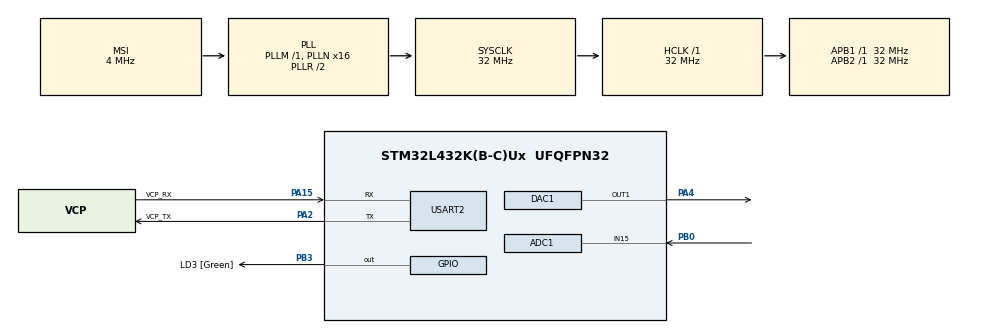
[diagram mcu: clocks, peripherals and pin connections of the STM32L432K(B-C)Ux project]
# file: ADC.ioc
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ADC1.Channel-4\#ChannelRegularConversion=ADC_CHANNEL_15
ADC1.ContinuousConvMode=DISABLE
ADC1.NbrOfConversionFlag=1
ADC1.OffsetNumber-4\#ChannelRegularConversion=ADC_OFFSET_NONE
ADC1.Overrun=ADC_OVR_DATA_OVERWRITTEN
ADC1.Rank-4\#ChannelRegularConversion=1
ADC1.SamplingTime-4\#ChannelRegularConversion=ADC_SAMPLETIME_2CYCLES_5
ADC1.master=1
Mcu.Family=STM32L4
Mcu.Name=STM32L432K(B-C)Ux
Mcu.Package=UFQFPN32
NVIC.PriorityGroup=NVIC_PRIORITYGROUP_4
PA0.GPIO_Label=MCO [High speed clock in]
PA0.Mode=HSE-External-Clock-Source-for-LittleOrca
PA0.Signal=RCC_CK_IN
PA13\ (JTMS-SWDIO).GPIO_Label=SWDIO
PA13\ (JTMS-SWDIO).Mode=Serial_Wire
PA13\ (JTMS-SWDIO).Signal=SYS_JTMS-SWDIO
PA14\ (JTCK-SWCLK).GPIO_Label=SWCLK
PA14\ (JTCK-SWCLK).Mode=Serial_Wire
PA14\ (JTCK-SWCLK).Signal=SYS_JTCK-SWCLK
PA15\ (JTDI).GPIO_Label=VCP_RX
PA15\ (JTDI).Mode=Asynchronous
PA15\ (JTDI).Signal=USART2_RX
PA2.GPIO_Label=VCP_TX
PA2.Mode=Asynchronous
PA2.Signal=USART2_TX
PA4.Signal=COMP_DAC11_group
PB0.Signal=ADCx_IN15
PB3\ (JTDO-TRACESWO).GPIO_Label=LD3 [Green]
PB3\ (JTDO-TRACESWO).Signal=GPIO_Output
PC14-OSC32_IN\ (PC14).Mode=LSE-External-Oscillator
PC14-OSC32_IN\ (PC14).Signal=RCC_OSC32_IN
PC15-OSC32_OUT\ (PC15).Mode=LSE-External-Oscillator
PC15-OSC32_OUT\ (PC15).Signal=RCC_OSC32_OUT
ProjectManager.HeapSize=0x200
ProjectManager.StackSize=0x400
ProjectManager.TargetToolchain=STM32CubeIDE
RCC.ADCFreq_Value=32000000
RCC.AHBFreq_Value=32000000
RCC.APB1Freq_Value=32000000
RCC.APB1TimFreq_Value=32000000
RCC.APB2Freq_Value=32000000
RCC.APB2TimFreq_Value=32000000
RCC.CortexFreq_Value=32000000
RCC.HCLKFreq_Value=32000000
RCC.HSE_VALUE=8000000
RCC.HSI16_VALUE=16000000
RCC.HSI48_VALUE=48000000
RCC.HSI_VALUE=16000000
RCC.MSI_VALUE=4000000
RCC.PLLMUL=RCC_PLLMUL_4
RCC.PLLN=16
RCC.PLLSAI1N=16
RCC.SYSCLKFreq_VALUE=32000000
RCC.SYSCLKSource=RCC_SYSCLKSOURCE_PLLCLK
RCC.USBFreq_Value=32000000
RCC.VCOOutputFreq_Value=64000000
SH.ADCx_IN15.0=ADC1_IN15,IN15-Single-Ended
SH.COMP_DAC11_group.0=DAC1_OUT1,DAC_OUT1
USART2.VirtualMode-Asynchronous=VM_ASYNC
board=NUCLEO-L432KC

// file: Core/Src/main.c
/* USER CODE BEGIN Header */
/**
  ******************************************************************************
  * @file           : main.c
  * @brief          : Main program body
  ******************************************************************************
  * @attention
  *
  * <h2><center>&copy; Copyright (c) 2020 STMicroelectronics.
  * All rights reserved.</center></h2>
  *
  * This software component is licensed by ST under BSD 3-Clause license,
  * the "License"; You may not use this file except in compliance with the
  * License. You may obtain a copy of the License at:
  *                        opensource.org/licenses/BSD-3-Clause
  *
  ******************************************************************************
  */
/* USER CODE END Header */
#include "main.h"

/* USER CODE BEGIN Includes */

#include <stdio.h>
#include <sys/_stdint.h>
#include <adc_dac.h>

/* USER CODE END Includes */

ADC_HandleTypeDef hadc1;

DAC_HandleTypeDef hdac1;

UART_HandleTypeDef huart2;

void SystemClock_Config(void);
static void MX_GPIO_Init(void);
static void MX_USART2_UART_Init(void);
static void MX_DAC1_Init(void);
static void MX_ADC1_Init(void);

/* USER CODE BEGIN 0 */

// route printf to UART
int _write(int file, char *ptr, int len)
{
	HAL_UART_Transmit(&huart2,  (uint8_t*) ptr, len, 10);
    return len;
}

void ramp(char *adc, char *dac)
{
	uint16_t value;
	printf("Soll;Ist;Time steps");
	for(uint16_t i = 0; i*10 < 4084;i++)
	{
		HAL_Delay(10);
		_dac_setval(i*10, dac);
		_adc_getval(&value, adc);
		printf("%d;%i;%i\n", i*10, value, i);
	}
}

/* USER CODE END 0 */

int main(void)
{

  /* MCU Configuration--------------------------------------------------------*/

  /* Reset of all peripherals, Initializes the Flash interface and the Systick. */
  HAL_Init();

  /* Configure the system clock */
  SystemClock_Config();

  /* Initialize all configured peripherals */
  MX_GPIO_Init();
  MX_USART2_UART_Init();
  MX_DAC1_Init();
  MX_ADC1_Init();
  /* USER CODE BEGIN 2 */
  _adc_configure("A3");
  _dac_configure("A4");

  printf("start ramp\n");
  ramp("A3", "A4");

  _adc_configure("A2");
  printf("read photo resistor\n");
  uint16_t light;

  /* USER CODE END 2 */

  /* Infinite loop */
  /* USER CODE BEGIN WHILE */
  while (1)
  {
	  HAL_Delay(100);
	  _adc_getval(&light, "A2");
	  printf("%d mV\n", (int)(light*((3.3/4084)*1000)));

    /* USER CODE END WHILE */

  }
}

void SystemClock_Config(void)
{
  RCC_OscInitTypeDef RCC_OscInitStruct = {0};
  RCC_ClkInitTypeDef RCC_ClkInitStruct = {0};
  RCC_PeriphCLKInitTypeDef PeriphClkInit = {0};

  /** Configure LSE Drive Capability
  */
  HAL_PWR_EnableBkUpAccess();
  __HAL_RCC_LSEDRIVE_CONFIG(RCC_LSEDRIVE_LOW);
  /** Initializes the RCC Oscillators according to the specified parameters
  * in the RCC_OscInitTypeDef structure.
  */
  RCC_OscInitStruct.OscillatorType = RCC_OSCILLATORTYPE_LSE|RCC_OSCILLATORTYPE_MSI;
  RCC_OscInitStruct.LSEState = RCC_LSE_ON;
  RCC_OscInitStruct.MSIState = RCC_MSI_ON;
  RCC_OscInitStruct.MSICalibrationValue = 0;
  RCC_OscInitStruct.MSIClockRange = RCC_MSIRANGE_6;
  RCC_OscInitStruct.PLL.PLLState = RCC_PLL_ON;
  RCC_OscInitStruct.PLL.PLLSource = RCC_PLLSOURCE_MSI;
  RCC_OscInitStruct.PLL.PLLM = 1;
  RCC_OscInitStruct.PLL.PLLN = 16;
  RCC_OscInitStruct.PLL.PLLP = RCC_PLLP_DIV7;
  RCC_OscInitStruct.PLL.PLLQ = RCC_PLLQ_DIV2;
  RCC_OscInitStruct.PLL.PLLR = RCC_PLLR_DIV2;
  if (HAL_RCC_OscConfig(&RCC_OscInitStruct) != HAL_OK)
  {
    Error_Handler();
  }
  /** Initializes the CPU, AHB and APB buses clocks
  */
  RCC_ClkInitStruct.ClockType = RCC_CLOCKTYPE_HCLK|RCC_CLOCKTYPE_SYSCLK
                              |RCC_CLOCKTYPE_PCLK1|RCC_CLOCKTYPE_PCLK2;
  RCC_ClkInitStruct.SYSCLKSource = RCC_SYSCLKSOURCE_PLLCLK;
  RCC_ClkInitStruct.AHBCLKDivider = RCC_SYSCLK_DIV1;
  RCC_ClkInitStruct.APB1CLKDivider = RCC_HCLK_DIV1;
  RCC_ClkInitStruct.APB2CLKDivider = RCC_HCLK_DIV1;

  if (HAL_RCC_ClockConfig(&RCC_ClkInitStruct, FLASH_LATENCY_1) != HAL_OK)
  {
    Error_Handler();
  }
  PeriphClkInit.PeriphClockSelection = RCC_PERIPHCLK_USART2|RCC_PERIPHCLK_ADC;
  PeriphClkInit.Usart2ClockSelection = RCC_USART2CLKSOURCE_PCLK1;
  PeriphClkInit.AdcClockSelection = RCC_ADCCLKSOURCE_PLLSAI1;
  PeriphClkInit.PLLSAI1.PLLSAI1Source = RCC_PLLSOURCE_MSI;
  PeriphClkInit.PLLSAI1.PLLSAI1M = 1;
  PeriphClkInit.PLLSAI1.PLLSAI1N = 16;
  PeriphClkInit.PLLSAI1.PLLSAI1P = RCC_PLLP_DIV7;
  PeriphClkInit.PLLSAI1.PLLSAI1Q = RCC_PLLQ_DIV2;
  PeriphClkInit.PLLSAI1.PLLSAI1R = RCC_PLLR_DIV2;
  PeriphClkInit.PLLSAI1.PLLSAI1ClockOut = RCC_PLLSAI1_ADC1CLK;
  if (HAL_RCCEx_PeriphCLKConfig(&PeriphClkInit) != HAL_OK)
  {
    Error_Handler();
  }
  /** Configure the main internal regulator output voltage
  */
  if (HAL_PWREx_ControlVoltageScaling(PWR_REGULATOR_VOLTAGE_SCALE1) != HAL_OK)
  {
    Error_Handler();
  }
  /** Enable MSI Auto calibration
  */
  HAL_RCCEx_EnableMSIPLLMode();
}

static void MX_ADC1_Init(void)
{

  ADC_ChannelConfTypeDef sConfig = {0};

  /** Common config
  */
  hadc1.Instance = ADC1;
  hadc1.Init.ClockPrescaler = ADC_CLOCK_ASYNC_DIV1;
  hadc1.Init.Resolution = ADC_RESOLUTION_12B;
  hadc1.Init.DataAlign = ADC_DATAALIGN_RIGHT;
  hadc1.Init.ScanConvMode = ADC_SCAN_DISABLE;
  hadc1.Init.EOCSelection = ADC_EOC_SINGLE_CONV;
  hadc1.Init.LowPowerAutoWait = DISABLE;
  hadc1.Init.ContinuousConvMode = DISABLE;
  hadc1.Init.NbrOfConversion = 1;
  hadc1.Init.DiscontinuousConvMode = DISABLE;
  hadc1.Init.ExternalTrigConv = ADC_SOFTWARE_START;
  hadc1.Init.ExternalTrigConvEdge = ADC_EXTERNALTRIGCONVEDGE_NONE;
  hadc1.Init.DMAContinuousRequests = DISABLE;
  hadc1.Init.Overrun = ADC_OVR_DATA_OVERWRITTEN;
  hadc1.Init.OversamplingMode = DISABLE;
  if (HAL_ADC_Init(&hadc1) != HAL_OK)
  {
    Error_Handler();
  }
  /** Configure Regular Channel
  */
  sConfig.Channel = ADC_CHANNEL_15;
  sConfig.Rank = ADC_REGULAR_RANK_1;
  sConfig.SamplingTime = ADC_SAMPLETIME_2CYCLES_5;
  sConfig.SingleDiff = ADC_SINGLE_ENDED;
  sConfig.OffsetNumber = ADC_OFFSET_NONE;
  sConfig.Offset = 0;
  if (HAL_ADC_ConfigChannel(&hadc1, &sConfig) != HAL_OK)
  {
    Error_Handler();
  }

}

static void MX_DAC1_Init(void)
{

  DAC_ChannelConfTypeDef sConfig = {0};

  /** DAC Initialization
  */
  hdac1.Instance = DAC1;
  if (HAL_DAC_Init(&hdac1) != HAL_OK)
  {
    Error_Handler();
  }
  /** DAC channel OUT1 config
  */
  sConfig.DAC_SampleAndHold = DAC_SAMPLEANDHOLD_DISABLE;
  sConfig.DAC_Trigger = DAC_TRIGGER_NONE;
  sConfig.DAC_OutputBuffer = DAC_OUTPUTBUFFER_ENABLE;
  sConfig.DAC_ConnectOnChipPeripheral = DAC_CHIPCONNECT_DISABLE;
  sConfig.DAC_UserTrimming = DAC_TRIMMING_FACTORY;
  if (HAL_DAC_ConfigChannel(&hdac1, &sConfig, DAC_CHANNEL_1) != HAL_OK)
  {
    Error_Handler();
  }

}

static void MX_USART2_UART_Init(void)
{

  huart2.Instance = USART2;
  huart2.Init.BaudRate = 115200;
  huart2.Init.WordLength = UART_WORDLENGTH_8B;
  huart2.Init.StopBits = UART_STOPBITS_1;
  huart2.Init.Parity = UART_PARITY_NONE;
  huart2.Init.Mode = UART_MODE_TX_RX;
  huart2.Init.HwFlowCtl = UART_HWCONTROL_NONE;
  huart2.Init.OverSampling = UART_OVERSAMPLING_16;
  huart2.Init.OneBitSampling = UART_ONE_BIT_SAMPLE_DISABLE;
  huart2.AdvancedInit.AdvFeatureInit = UART_ADVFEATURE_NO_INIT;
  if (HAL_UART_Init(&huart2) != HAL_OK)
  {
    Error_Handler();
  }

}

static void MX_GPIO_Init(void)
{
  GPIO_InitTypeDef GPIO_InitStruct = {0};

  /* GPIO Ports Clock Enable */
  __HAL_RCC_GPIOC_CLK_ENABLE();
  __HAL_RCC_GPIOA_CLK_ENABLE();
  __HAL_RCC_GPIOB_CLK_ENABLE();

  /*Configure GPIO pin Output Level */
  HAL_GPIO_WritePin(LD3_GPIO_Port, LD3_Pin, GPIO_PIN_RESET);

  /*Configure GPIO pin : LD3_Pin */
  GPIO_InitStruct.Pin = LD3_Pin;
  GPIO_InitStruct.Mode = GPIO_MODE_OUTPUT_PP;
  GPIO_InitStruct.Pull = GPIO_NOPULL;
  GPIO_InitStruct.Speed = GPIO_SPEED_FREQ_LOW;
  HAL_GPIO_Init(LD3_GPIO_Port, &GPIO_InitStruct);

}

void Error_Handler(void)
{
}

/************************ (C) COPYRIGHT STMicroelectronics *****END OF FILE****/
